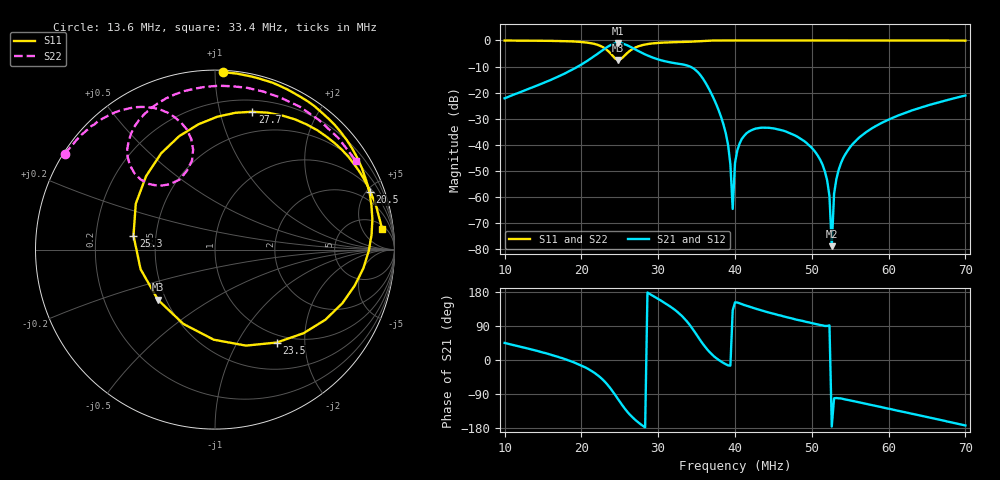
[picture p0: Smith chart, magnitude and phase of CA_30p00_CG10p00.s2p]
#  HZ  S  RI  R  50.00
! Rohde & Schwarz ZVT8 8Ports - Version 4.11 - 1300.0000k08 SN: 100242
! Date: 2026-07-31 14:35:51
! Measurements: S11 S21 S12 S22
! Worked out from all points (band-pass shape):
!   201 points, 10 MHz to 70 MHz, reference 50 ohm
!   highest |S21| = -0.99 dB at 24.7 MHz (marker M1); lowest = -78.8 dB at 52.6 MHz (marker M2)
!   |S21| within 3 dB of the highest: 22.64 MHz to 27.37 MHz (4.724 MHz wide, 18.9 % of centre)
!   lowest |S11| = -7.5 dB at 24.7 MHz (marker M3), VSWR 2.47, Z = 22.6 - j15.4 ohm
!   |S11| at or under -10 dB: nowhere
!   |S22| runs from -7.2 to 0.0 dB; largest |S21 - S12| = 0.0025
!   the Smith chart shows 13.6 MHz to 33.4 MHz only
!   S11 on the Smith chart (normalised r, x): 13.6 MHz: 0.01, +1.05; 20.5 MHz: 1.28, +5.25; 23.5 MHz: 0.88, -1.48; 25.3 MHz: 0.37, +0.07; 27.7 MHz: 0.30, +1.26; 33.4 MHz: 7, +13
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1e7  -0.3962 0.914  0.0551 0.0551  0.055 0.0552  -0.9173 0.3886
1.36e7  0.0448 0.9884  0.1119 0.0579  0.1119 0.0572  -0.835 0.5319
2.02e7  0.8411 0.389  0.3453 -0.1027  0.3447 -0.1021  -0.503 0.7809
2.05e7  0.8608 0.3205  0.3616 -0.1277  0.3594 -0.1272  -0.475 0.7877
2.35e7  0.3439 -0.5178  0.2918 -0.7126  0.2926 -0.7111  -0.1323 0.6163
2.47e7  -0.3178 -0.2797  -0.174 -0.8753  -0.1725 -0.8741  -0.1972 0.3902
2.53e7  -0.4542 0.0782  -0.4208 -0.7673  -0.4196 -0.7665  -0.3113 0.3543
2.77e7  0.2077 0.768  -0.5856 -0.1105  -0.5867 -0.1109  -0.467 0.6477
3.01e7  0.707 0.5562  -0.4018 0.1487  -0.4014 0.1477  -0.1729 0.8829
3.34e7  0.9301 0.1167  -0.1147 0.3223  -0.115 0.3213  0.7872 0.4923
3.58e7  0.9608 -0.1883  0.1378 0.1282  0.1376 0.1281  0.102 -0.9626
3.88e7  0.8243 -0.5617  0.0163 -0.00323  0.0163 -0.00313  -0.9821 -0.1587
3.97e7  0.7569 -0.651  -0.000386 0.000449  -0.00033 0.000415  -0.9943 0.0504
4e7  0.7316 -0.678  -0.00397 0.00211  -0.00396 0.0019  -0.9907 0.1073
4.3e7  0.4478 -0.8913  -0.0144 0.0151  -0.0143 0.0152  -0.87 0.4892
5.02e7  -0.3433 -0.9375  -0.000908 0.00807  -0.0009 0.00806  -0.5289 0.8454
5.2e7  -0.5241 -0.8507  5.18e-06 0.00208  2.66e-05 0.00207  -0.448 0.8893
5.26e7  -0.5786 -0.8114  -0.000114 -8.63e-06  -0.000123 -4.29e-05  -0.4222 0.9031
5.29e7  -0.6066 -0.7919  -0.000221 -0.00113  -0.000211 -0.00113  -0.41 0.9083
5.41e7  -0.7068 -0.7054  -0.00126 -0.00548  -0.00124 -0.00548  -0.3579 0.9306
6.01e7  -0.9886 -0.118  -0.0194 -0.0242  -0.0194 -0.0241  -0.1017 0.9915
7e7  -0.5346 0.836  -0.0876 -0.0111  -0.0874 -0.011  0.3067 0.9449
